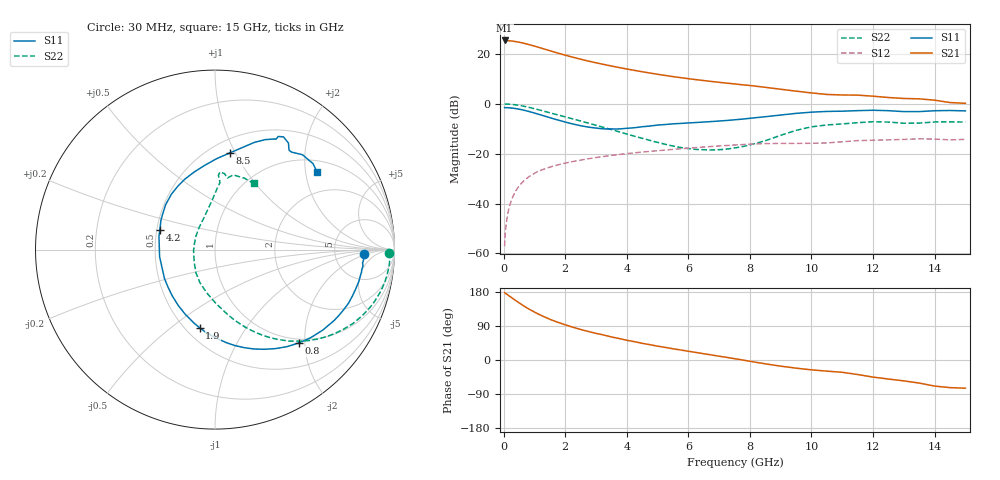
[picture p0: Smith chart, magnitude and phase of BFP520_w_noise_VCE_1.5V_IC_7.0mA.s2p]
! Infineon Technologies  Discrete & RF Semiconductors
! BFP520
! VCE =  1.5 V,  IC =  7.0 mA
! Common Emitter S-Parameters:  Oct 2015
# GHz  S  MA  R  50
!  f  S11  S21  S12  S22
! GHz  MAG  ANG  MAG  ANG  MAG  ANG  MAG  ANG
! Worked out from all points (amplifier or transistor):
!   109 points, 30 MHz to 15 GHz, reference 50 ohm
!   highest |S21| = 25.3 dB at 30 MHz (marker M1)
!   |S21| within 3 dB of that: start of sweep to 1.203 GHz
!   unconditionally stable (mu >= 1): 3.763 GHz to end of sweep
!   at 450 MHz: K = 0.16, MSG = 29.3 dB, |S12| = -33.9 dB
!   at 4 GHz: K = 1.03, MAG = 15.9 dB, |S12| = -20.0 dB
!   at 15 GHz: K = 1.34, MAG = 3.7 dB, |S12| = -14.3 dB
!   lowest NFmin = 1.34 dB at 900 MHz
!   S11 on the Smith chart (normalised r, x): 30 MHz: 10, -2; 800 MHz: 0.92, -1.88; 1.9 GHz: 0.59, -0.64; 4.2 GHz: 0.52, +0.13; 8.5 GHz: 0.62, +0.95; 15 GHz: 1.32, +2.32
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0.03  0.8283 -1.8  18.33 177.8  0.0014 92.5  0.9722 -1.0
0.1  0.8297 -6.3  18.11 173.7  0.0048 86.1  0.9747 -4.0
0.25  0.8139 -15.7  17.88 164.9  0.0115 82.4  0.9642 -10.4
0.45  0.7819 -27.9  17.11 153.6  0.0203 76.4  0.9318 -18.6
0.6  0.7497 -36.7  16.4 145.5  0.0263 72.3  0.8978 -24.4
0.8  0.6994 -48.0  15.26 135.4  0.0337 67.3  0.8454 -31.4
1.1  0.62 -63.6  13.55 122.3  0.0432 61.0  0.7611 -40.8
1.4  0.546 -78.3  11.92 111.0  0.0511 55.9  0.6793 -48.7
1.7  0.4803 -92.1  10.5 101.2  0.058 51.9  0.606 -55.5
1.9  0.4437 -101.1  9.683 95.6  0.0623 49.6  0.5617 -59.5
2.2  0.3971 -114.6  8.614 87.7  0.0683 46.5  0.5017 -65.0
2.6  0.3514 -132.4  7.46 78.4  0.0758 42.8  0.4306 -72.0
3  0.3243 -150.3  6.545 70.2  0.0831 39.4  0.368 -79.0
3.5  0.3112 -172.7  5.639 60.8  0.0918 35.1  0.3014 -88.8
4.2  0.3267 160.3  4.674 49.1  0.1026 29.2  0.2265 -105.7
5.1  0.3749 135.9  3.774 35.2  0.1153 22.3  0.1614 -131.8
6  0.4097 120.3  3.149 23.0  0.1282 15.6  0.1256 -159.8
7.6  0.4792 95.2  2.434 2.2  0.1494 2.3  0.1323 141.3
8.5  0.5455 81.2  2.115 -10.1  0.1581 -6.2  0.1805 111.5
10.5  0.6962 62.2  1.522 -29.4  0.1631 -18.9  0.3734 85.8
13  0.6902 53.3  1.265 -55.0  0.1918 -38.5  0.4043 80.1
15  0.7139 37.2  1.012 -74.4  0.1922 -54.1  0.4272 59.6
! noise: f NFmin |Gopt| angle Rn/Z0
0.45  1.35  0.39  2  0.3
0.9  1.34  0.38  9  0.32
1.9  1.57  0.33  19  0.27
2.4  1.57  0.29  30  0.27
3.5  1.5  0.27  54  0.26
